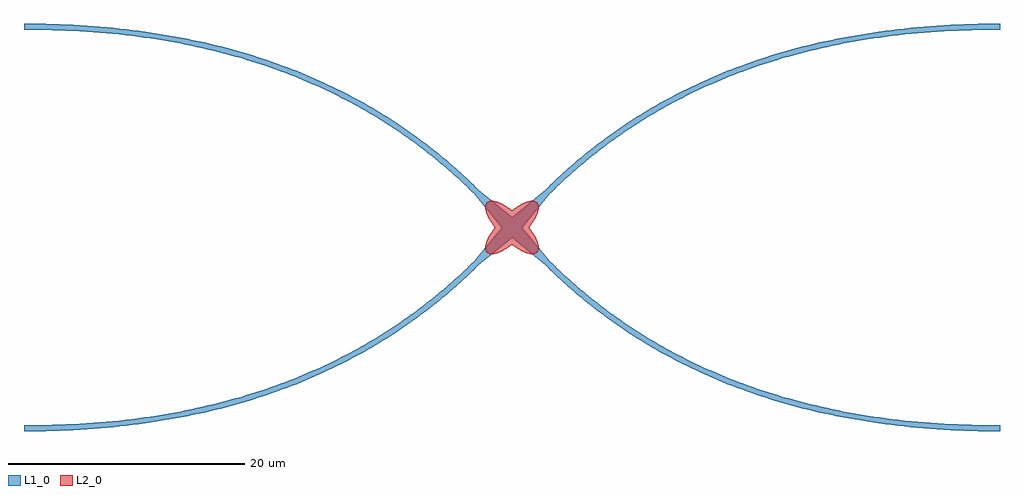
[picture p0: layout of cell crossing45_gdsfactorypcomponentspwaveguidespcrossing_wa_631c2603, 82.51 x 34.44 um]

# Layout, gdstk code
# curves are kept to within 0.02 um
from math import pi, radians
import gdstk
lib = gdstk.Library(unit=1e-6, precision=1e-09)
def P(c, l, *ps):  # polygons
    for p in ps: c.add(gdstk.Polygon(p, *l))
L1_0 = (1, 0)
L2_0 = (2, 0)

crossing_gdsfactorypcomp = lib.new_cell('crossing_gdsfactorypcomponentspwaveguidespcrossing_wave_e9b41af5')
P(crossing_gdsfactorypcomp, L1_0, [(-2.652,-3.005),(-3.005,-2.652),(-0.849,0),(-3.005,2.652),(-2.652,3.005),(0,0.849),(2.652,3.005),(3.005,2.652),(0.849,0),(3.005,-2.652),(2.652,-3.005),(0,-0.849)])
P(crossing_gdsfactorypcomp, L2_0, [(-1.734,-2.26),(-2.015,-2.198),(-2.121,-2.121),(-2.198,-2.015),(-2.26,-1.734),(-2.217,-1.413),(-2.053,-0.957),(-1.794,-0.48),(-1.461,0),(-1.923,0.699),(-2.172,1.254),(-2.26,1.734),(-2.198,2.015),(-2.121,2.121),(-2.015,2.198),(-1.734,2.26),(-1.254,2.172),(-0.699,1.923),(0,1.461),(0.699,1.923),(1.254,2.172),(1.734,2.26),(2.015,2.198),(2.121,2.121),(2.198,2.015),(2.26,1.734),(2.172,1.254),(1.923,0.699),(1.461,0),(1.923,-0.699),(2.172,-1.254),(2.26,-1.734),(2.198,-2.015),(2.121,-2.121),(2.015,-2.198),(1.734,-2.26),(1.254,-2.172),(0.699,-1.923),(0,-1.461),(-0.48,-1.794),(-0.957,-2.053),(-1.413,-2.217)])

bezier_gdsfactorypcompon = lib.new_cell('bezier_gdsfactorypcomponentspbendspbend_s_CP2p828_2p828_778c27af')
P(bezier_gdsfactorypcompon, L1_0, [(42.25,-14.319),(40.394,-12.554),(38.525,-10.967),(36.712,-9.586),(34.723,-8.233),(32.551,-6.924),(30.537,-5.852),(28.376,-4.84),(26.065,-3.897),(24.02,-3.175),(21.862,-2.515),(19.591,-1.927),(17.201,-1.415),(14.175,-0.913),(12.595,-0.71),(10.969,-0.543),(7.579,-0.319),(5.814,-0.265),(4,-0.251),(4,0.25),(7.014,0.204),(9.898,0.047),(12.652,-0.214),(15.792,-0.655),(18.275,-1.12),(21.095,-1.787),(23.75,-2.561),(26.242,-3.43),(27.816,-4.056),(28.951,-4.548),(30.407,-5.23),(31.455,-5.761),(33.762,-7.049),(34.993,-7.811),(36.164,-8.589),(37.546,-9.577),(39.087,-10.777),(40.276,-11.781),(41.594,-12.98),(42.603,-13.966)])

c_bezier_gdsfactorypcompon = lib.new_cell('bezier_gdsfactorypcomponentspbendspbend_s_CP2p828_2p828_778c27$1')
P(c_bezier_gdsfactorypcompon, L1_0, [(-0.25,4),(-0.204,7.014),(-0.047,9.898),(0.214,12.652),(0.572,15.281),(1.12,18.275),(1.669,20.637),(2.425,23.318),(3.279,25.837),(4.218,28.199),(5.23,30.407),(6.488,32.796),(7.811,34.993),(9.18,37.004),(10.777,39.087),(12.382,40.949),(13.966,42.603),(14.319,42.25),(13.344,41.25),(12.356,40.172),(11.364,39.013),(10.571,38.025),(9.002,35.882),(8.233,34.723),(7.478,33.505),(6.382,31.562),(5.508,29.834),(4.517,27.623),(3.749,25.665),(3.037,23.597),(2.391,21.418),(1.818,19.123),(1.323,16.709),(0.842,13.653),(0.495,10.417),(0.296,6.996),(0.251,4)])

crossing45_gdsfactorypco = lib.new_cell('crossing45_gdsfactorypcomponentspwaveguidespcrossing_wa_631c2603')
crossing45_gdsfactorypco.add(gdstk.Reference(crossing_gdsfactorypcomp, (0,0)))
crossing45_gdsfactorypco.add(gdstk.Reference(bezier_gdsfactorypcompon, (45.255,16.971), rotation=pi, x_reflection=True))
crossing45_gdsfactorypco.add(gdstk.Reference(bezier_gdsfactorypcompon, (-45.255,-16.971), x_reflection=True))
crossing45_gdsfactorypco.add(gdstk.Reference(c_bezier_gdsfactorypcompon, (45.255,-16.971), rotation=pi/2))
crossing45_gdsfactorypco.add(gdstk.Reference(c_bezier_gdsfactorypcompon, (-45.255,16.971), rotation=3*pi/2))

lib.write_gds('crossing45_gdsfactorypcomponentspwaveguidespcrossing_wa_631c2603.gds')
